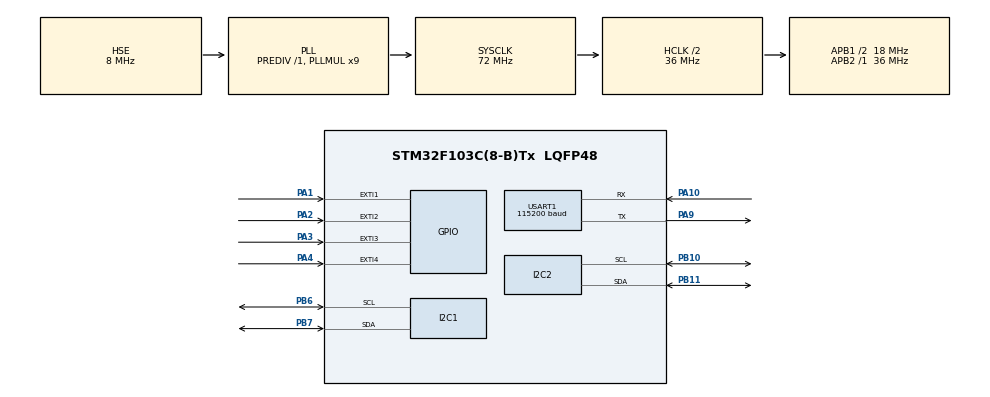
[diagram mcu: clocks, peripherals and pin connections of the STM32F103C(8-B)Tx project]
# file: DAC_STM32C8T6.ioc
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Mcu.Family=STM32F1
Mcu.Name=STM32F103C(8-B)Tx
Mcu.Package=LQFP48
NVIC.EXTI1_IRQn=true\:0\:0\:false\:false\:true\:true\:true\:true
NVIC.EXTI2_IRQn=true\:0\:0\:false\:false\:true\:true\:true\:true
NVIC.EXTI3_IRQn=true\:0\:0\:false\:false\:true\:true\:true\:true
NVIC.EXTI4_IRQn=true\:0\:0\:false\:false\:true\:true\:true\:true
NVIC.PriorityGroup=NVIC_PRIORITYGROUP_4
NVIC.USART1_IRQn=true\:0\:0\:false\:false\:true\:true\:true\:true
PA1.GPIO_ModeDefaultEXTI=GPIO_MODE_IT_FALLING
PA1.GPIO_PuPd=GPIO_PULLUP
PA1.Signal=GPXTI1
PA10.Mode=Asynchronous
PA10.Signal=USART1_RX
PA2.GPIO_ModeDefaultEXTI=GPIO_MODE_IT_FALLING
PA2.GPIO_PuPd=GPIO_PULLUP
PA2.Signal=GPXTI2
PA3.GPIO_ModeDefaultEXTI=GPIO_MODE_IT_FALLING
PA3.GPIO_PuPd=GPIO_PULLUP
PA3.Signal=GPXTI3
PA4.GPIO_ModeDefaultEXTI=GPIO_MODE_IT_FALLING
PA4.GPIO_PuPd=GPIO_PULLUP
PA4.Signal=GPXTI4
PA9.Mode=Asynchronous
PA9.Signal=USART1_TX
PB10.Mode=I2C
PB10.Signal=I2C2_SCL
PB11.Mode=I2C
PB11.Signal=I2C2_SDA
PB6.Mode=I2C
PB6.Signal=I2C1_SCL
PB7.Mode=I2C
PB7.Signal=I2C1_SDA
PC14-OSC32_IN.Mode=LSE-External-Oscillator
PC14-OSC32_IN.Signal=RCC_OSC32_IN
PC15-OSC32_OUT.Mode=LSE-External-Oscillator
PC15-OSC32_OUT.Signal=RCC_OSC32_OUT
PD0-OSC_IN.Mode=HSE-External-Oscillator
PD0-OSC_IN.Signal=RCC_OSC_IN
PD1-OSC_OUT.Mode=HSE-External-Oscillator
PD1-OSC_OUT.Signal=RCC_OSC_OUT
ProjectManager.HeapSize=0x200
ProjectManager.StackSize=0x400
ProjectManager.TargetToolchain=STM32CubeIDE
RCC.AHBCLKDivider=RCC_SYSCLK_DIV2
RCC.AHBFreq_Value=36000000
RCC.APB1CLKDivider=RCC_HCLK_DIV2
RCC.APB1Freq_Value=18000000
RCC.APB1TimFreq_Value=36000000
RCC.APB2Freq_Value=36000000
RCC.APB2TimFreq_Value=36000000
RCC.HCLKFreq_Value=36000000
RCC.PLLMUL=RCC_PLL_MUL9
RCC.PLLSourceVirtual=RCC_PLLSOURCE_HSE
RCC.SYSCLKFreq_VALUE=72000000
RCC.SYSCLKSource=RCC_SYSCLKSOURCE_PLLCLK
RCC.USBFreq_Value=72000000
USART1.BaudRate=115200
USART1.VirtualMode=VM_ASYNC
VP_SYS_VS_ND.Mode=No_Debug
board=custom

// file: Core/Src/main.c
/* USER CODE BEGIN Header */
/**
  ******************************************************************************
  * @file           : main.c
  * @brief          : Main program body
  ******************************************************************************
  * @attention
  *
  * Copyright (c) 2025 STMicroelectronics.
  * All rights reserved.
  *
  * This software is licensed under terms that can be found in the LICENSE file
  * in the root directory of this software component.
  * If no LICENSE file comes with this software, it is provided AS-IS.
  *
  ******************************************************************************
  */
/* USER CODE END Header */
#include "main.h"

/* USER CODE BEGIN Includes */
#include "stdio.h"
#include "string.h"
#include "stdarg.h"
#include "OLED.h"
#include "ES9018K2M.h"
/* USER CODE END Includes */

/* USER CODE BEGIN PD */
#define LINE_INPUT_SHOWN 1+2
#define LINE_LEVEL_SHOWN 2+2
#define LINE_FILTR_SHOWN 3+2
#define LINE_MODE_SHOWN  4+2

// 编码器引脚定义 (原按键定义现在用于编码器)
#define ENCODER_SW_PIN     GPIO_PIN_1   // 按键 (EXTI1)
#define ENCODER_CLK_PIN    GPIO_PIN_2   // A相/CLK (EXTI2) - 用于触发旋转中断
#define ENCODER_DT_PIN     GPIO_PIN_3   // B相/DT (EXTI3) - 仅作为输入读取电平

#define DEBOUNCE_TIME_MS 200     // 按钮消抖时间
#define TIMEOUT_MS       3000    // 超时时间3秒

// 添加串口命令相关定义
#define UART_RX_BUFFER_SIZE 64
#define UART_CMD_MAX_LENGTH 32

/* USER CODE END PD */

/* USER CODE BEGIN PM */
typedef enum {
    MODE_LEVEL = 0,
    MODE_INPUT,
    MODE_FILTER,
    MODE_COUNT // 用于循环计数
} ControlMode_t;
/* USER CODE END PM */

I2C_HandleTypeDef hi2c1;
I2C_HandleTypeDef hi2c2;

UART_HandleTypeDef huart1;

/* USER CODE BEGIN PV */
// 编码器状态变量
ES9018K2M_Handle dac_chip;
uint8_t atten_half_dB;
uint8_t DAC_INPUT_SEL;
uint8_t DAC_FILTR_SEL;

volatile ControlMode_t current_mode = MODE_LEVEL; // 当前控制模式，默认为音量调节
volatile uint32_t last_rotation_time = 0;         // 记录最后一次旋转操作的时间
volatile uint32_t last_switch_press_time = 0;     // 按键消抖用

// 标记 DAC 寄存器是否需要更新（用于在主循环中执行I2C，避免在中断中执行阻塞操作）
volatile uint8_t dac_update_flag = 0;

// 串口接收相关变量
uint8_t uart_rx_buffer[UART_RX_BUFFER_SIZE];
uint8_t uart_cmd_buffer[UART_CMD_MAX_LENGTH];
uint16_t uart_rx_index = 0;
uint8_t uart_cmd_ready = 0;
/* USER CODE END PV */

void SystemClock_Config(void);
static void MX_GPIO_Init(void);
static void MX_I2C1_Init(void);
static void MX_USART1_UART_Init(void);
static void MX_I2C2_Init(void);
/* USER CODE BEGIN PFP */
#ifdef __GNUC__                                    //串口重定向
#define PUTCHAR_PROTOTYPE int __io_putchar(int ch)
#else
#define PUTCHAR_PROTOTYPE int fputc(int ch, FILE *f)
#endif
PUTCHAR_PROTOTYPE
{
    HAL_UART_Transmit(&huart1 , (uint8_t *)&ch, 1, 0xFFFF);
    return ch;
}

// 串口命令处理函数声明
void UART_Command_Process(void);
void UART_Process_ReadCommand(char *cmd);
void UART_Process_WriteCommand(char *cmd);
void UART_Send_Help(void);
void UART_Send_Response(const char *format, ...);
/* USER CODE END PFP */

int main(void)
{

  /* MCU Configuration--------------------------------------------------------*/

  /* Reset of all peripherals, Initializes the Flash interface and the Systick. */
  HAL_Init();

  /* Configure the system clock */
  SystemClock_Config();

  /* Initialize all configured peripherals */
  MX_GPIO_Init();
  MX_I2C1_Init();
  MX_USART1_UART_Init();
  MX_I2C2_Init();
  /* USER CODE BEGIN 2 */
  OLED_Init();
  ES9018K2M_InitHandle(&dac_chip, &hi2c1, 0x90);
  printf("Try to reset ES9018K2M\n");
//  ES9018K2M_SoftReset(&dac_chip);

  // 启动串口接收中断
  HAL_UART_Receive_IT(&huart1, uart_rx_buffer, 1);

  atten_half_dB=0;
  if (ES9018K2M_GetAttenuation(&dac_chip, &atten_half_dB) == HAL_OK) {
      printf("Current attenuation: %d *0.5dB\n", atten_half_dB);
  }
//  ES9018K2M_SetAttenuation(&dac_chip, atten_half_dB);
  DAC_INPUT_SEL=0;
  DAC_FILTR_SEL=0;
  OLED_ShowString(LINE_INPUT_SHOWN, 1, "Input:");
  OLED_ShowString(LINE_FILTR_SHOWN, 1, "FLT:");

  // 打印帮助信息
  printf("\r\nES9018K2M Debug Console Ready!\r\n");
  printf("Available commands:\r\n");
  printf("  r [addr]          - Read register (hex)\r\n");
  printf("  w [addr] [value]  - Write register (hex)\r\n");
  printf("  level [value]     - Set attenuation (0-255)\r\n");
  printf("  input [0-2]       - Set input source\r\n");
  printf("  filter [0-2]      - Set filter type\r\n");
  printf("  status            - Show current status\r\n");
  printf("  help              - Show this help\r\n");
  printf("Example: r 01, w 01 FF, level 128\r\n");
  /* USER CODE END 2 */

  /* Infinite loop */
    /* USER CODE BEGIN WHILE */
    while (1)
    {
        uint32_t current_time = HAL_GetTick();

        // ============== 1. 模式超时检查 (非 LEVEL 模式下) ==============
        if (current_mode != MODE_LEVEL) {
            if (current_time - last_rotation_time > TIMEOUT_MS) {
                current_mode = MODE_LEVEL;
                printf("Mode Timeout, back to Level\n");
            }
        }

        // ============== 2. DAC I2C 写入 (在主循环中执行，非中断) ==============
        if (dac_update_flag) {
            printf("Applying DAC settings...\n");
            if (current_mode == MODE_LEVEL) {
                ES9018K2M_SetAttenuation(&dac_chip, atten_half_dB);
            } else if (current_mode == MODE_INPUT) {
                switch (DAC_INPUT_SEL) {
                    case 0: // USB
                        ES9018K2M_WriteReg(&dac_chip, ES9018K2M_REG_INPUT_CONFIG, 0b10001100);
                        break;
                    case 1: // SPDIF Optical
                        ES9018K2M_WriteReg(&dac_chip, ES9018K2M_REG_GPIO_CONFIG, 0b10001000);
                        ES9018K2M_WriteReg(&dac_chip, ES9018K2M_REG_INPUT_CONFIG, 0b10000001);
                        ES9018K2M_WriteReg(&dac_chip, ES9018K2M_REG_CH_MAPPING, 0b00110010);
                        break;
                    case 2: // SPDIF Coaxial
                        ES9018K2M_WriteReg(&dac_chip, ES9018K2M_REG_GPIO_CONFIG, 0b10001000);
                        ES9018K2M_WriteReg(&dac_chip, ES9018K2M_REG_INPUT_CONFIG, 0b10000001);
                        ES9018K2M_WriteReg(&dac_chip, ES9018K2M_REG_CH_MAPPING, 0b01000010);
                        break;
                }
            } else if (current_mode == MODE_FILTER) {
                switch (DAC_FILTR_SEL) {
                    case 0: // Fast RO
                        ES9018K2M_WriteReg(&dac_chip, ES9018K2M_REG_GENERAL_SETTINGS, 0b10000000);
                        break;
                    case 1: // Slow RO
                        ES9018K2M_WriteReg(&dac_chip, ES9018K2M_REG_GENERAL_SETTINGS, 0b10010000);
                        break;
                    case 2: // Min Phase
                        ES9018K2M_WriteReg(&dac_chip, ES9018K2M_REG_GENERAL_SETTINGS, 0b10100000);
                        break;
                }
            }
            dac_update_flag = 0; // 重置标志位
        }

        // ============== 3. 串口命令处理 ==============
            if (uart_cmd_ready) {
                UART_Command_Process();
                uart_cmd_ready = 0;
            }

  	  // ============== 4. OLED 屏幕刷新 ==============

  	  // Line1: Input
  	  switch (DAC_INPUT_SEL) {
  	  		  case 0:
  	  			  OLED_ShowString(LINE_INPUT_SHOWN, 8, "USB      ");
  	  			  break;
  	  		  case 1:
  	  			  OLED_ShowString(LINE_INPUT_SHOWN, 8, "SPDIF Cox");
  	  			  break;
  	  		  case 2:
  	  			  OLED_ShowString(LINE_INPUT_SHOWN, 8, "SPDIF Opt");
  	  			  break;
  	  		  default:
  	  			  OLED_ShowString(LINE_INPUT_SHOWN, 8, "Unknown");
  	  			  break;
  	  	}

  	  	  	  // Line2: Level
  	  	  	  OLED_ShowString(LINE_LEVEL_SHOWN, 1, "Level: -");
  	  	  	  OLED_ShowNum(LINE_LEVEL_SHOWN, 9, atten_half_dB/2, 3);
  	  	  	  if (atten_half_dB%2) OLED_ShowString(LINE_LEVEL_SHOWN, 12, ".5 dB");
  	  	  	  else OLED_ShowString(LINE_LEVEL_SHOWN, 12, ".0 dB");

  	  	  	  // Line3: Filter
  	  	  	  switch (DAC_FILTR_SEL) {
  	  	  		  case 0:
  	  	  			OLED_ShowString(LINE_FILTR_SHOWN, 6, "Fast RO  ");
   	  	  			break;
  	  	  		  case 1:
  	  	  			OLED_ShowString(LINE_FILTR_SHOWN, 6, "Slow RO  ");
  	  	  			break;
  	  	  		  case 2:
  	  	  			OLED_ShowString(LINE_FILTR_SHOWN, 6, "Min Phase");
  	  	  			break;
  	  	  		  default:
  	  	  			OLED_ShowString(LINE_FILTR_SHOWN, 6, "Unknown");
  	  	  			break;
  	  	  		}

            // Line4: Current Mode (新增)
            OLED_ShowString(LINE_MODE_SHOWN, 1, "Mode: ");
            switch (current_mode) {
                case MODE_LEVEL:
                    OLED_ShowString(LINE_MODE_SHOWN, 7, "**LEVEL** ");
                    break;
                case MODE_INPUT:
                    OLED_ShowString(LINE_MODE_SHOWN, 7, "**INPUT** ");
                    break;
                case MODE_FILTER:
                    OLED_ShowString(LINE_MODE_SHOWN, 7, "**FILTER** ");
                    break;
                default:
                    OLED_ShowString(LINE_MODE_SHOWN, 7, "UNKNOWN    ");
                    break;
            }

      /* USER CODE END WHILE */

    }
}

void SystemClock_Config(void)
{
  RCC_OscInitTypeDef RCC_OscInitStruct = {0};
  RCC_ClkInitTypeDef RCC_ClkInitStruct = {0};

  /** Initializes the RCC Oscillators according to the specified parameters
  * in the RCC_OscInitTypeDef structure.
  */
  RCC_OscInitStruct.OscillatorType = RCC_OSCILLATORTYPE_HSE;
  RCC_OscInitStruct.HSEState = RCC_HSE_ON;
  RCC_OscInitStruct.HSEPredivValue = RCC_HSE_PREDIV_DIV1;
  RCC_OscInitStruct.HSIState = RCC_HSI_ON;
  RCC_OscInitStruct.PLL.PLLState = RCC_PLL_ON;
  RCC_OscInitStruct.PLL.PLLSource = RCC_PLLSOURCE_HSE;
  RCC_OscInitStruct.PLL.PLLMUL = RCC_PLL_MUL9;
  if (HAL_RCC_OscConfig(&RCC_OscInitStruct) != HAL_OK)
  {
    Error_Handler();
  }

  /** Initializes the CPU, AHB and APB buses clocks
  */
  RCC_ClkInitStruct.ClockType = RCC_CLOCKTYPE_HCLK|RCC_CLOCKTYPE_SYSCLK
                              |RCC_CLOCKTYPE_PCLK1|RCC_CLOCKTYPE_PCLK2;
  RCC_ClkInitStruct.SYSCLKSource = RCC_SYSCLKSOURCE_PLLCLK;
  RCC_ClkInitStruct.AHBCLKDivider = RCC_SYSCLK_DIV2;
  RCC_ClkInitStruct.APB1CLKDivider = RCC_HCLK_DIV2;
  RCC_ClkInitStruct.APB2CLKDivider = RCC_HCLK_DIV1;

  if (HAL_RCC_ClockConfig(&RCC_ClkInitStruct, FLASH_LATENCY_2) != HAL_OK)
  {
    Error_Handler();
  }
}

static void MX_I2C1_Init(void)
{

  hi2c1.Instance = I2C1;
  hi2c1.Init.ClockSpeed = 100000;
  hi2c1.Init.DutyCycle = I2C_DUTYCYCLE_2;
  hi2c1.Init.OwnAddress1 = 0;
  hi2c1.Init.AddressingMode = I2C_ADDRESSINGMODE_7BIT;
  hi2c1.Init.DualAddressMode = I2C_DUALADDRESS_DISABLE;
  hi2c1.Init.OwnAddress2 = 0;
  hi2c1.Init.GeneralCallMode = I2C_GENERALCALL_DISABLE;
  hi2c1.Init.NoStretchMode = I2C_NOSTRETCH_DISABLE;
  if (HAL_I2C_Init(&hi2c1) != HAL_OK)
  {
    Error_Handler();
  }

}

static void MX_I2C2_Init(void)
{

  hi2c2.Instance = I2C2;
  hi2c2.Init.ClockSpeed = 100000;
  hi2c2.Init.DutyCycle = I2C_DUTYCYCLE_2;
  hi2c2.Init.OwnAddress1 = 0;
  hi2c2.Init.AddressingMode = I2C_ADDRESSINGMODE_7BIT;
  hi2c2.Init.DualAddressMode = I2C_DUALADDRESS_DISABLE;
  hi2c2.Init.OwnAddress2 = 0;
  hi2c2.Init.GeneralCallMode = I2C_GENERALCALL_DISABLE;
  hi2c2.Init.NoStretchMode = I2C_NOSTRETCH_DISABLE;
  if (HAL_I2C_Init(&hi2c2) != HAL_OK)
  {
    Error_Handler();
  }

}

static void MX_USART1_UART_Init(void)
{

  huart1.Instance = USART1;
  huart1.Init.BaudRate = 115200;
  huart1.Init.WordLength = UART_WORDLENGTH_8B;
  huart1.Init.StopBits = UART_STOPBITS_1;
  huart1.Init.Parity = UART_PARITY_NONE;
  huart1.Init.Mode = UART_MODE_TX_RX;
  huart1.Init.HwFlowCtl = UART_HWCONTROL_NONE;
  huart1.Init.OverSampling = UART_OVERSAMPLING_16;
  if (HAL_UART_Init(&huart1) != HAL_OK)
  {
    Error_Handler();
  }

}

static void MX_GPIO_Init(void)
{
  GPIO_InitTypeDef GPIO_InitStruct = {0};

  /* GPIO Ports Clock Enable */
  __HAL_RCC_GPIOC_CLK_ENABLE();
  __HAL_RCC_GPIOD_CLK_ENABLE();
  __HAL_RCC_GPIOA_CLK_ENABLE();
  __HAL_RCC_GPIOB_CLK_ENABLE();

  /*Configure GPIO pins : PA1 PA2 PA3 PA4 */
  GPIO_InitStruct.Pin = ENCODER_CLK_PIN|ENCODER_SW_PIN; // PA1(SW) 和 PA2(CLK)
  GPIO_InitStruct.Mode = GPIO_MODE_IT_FALLING;
  GPIO_InitStruct.Pull = GPIO_PULLUP;
  HAL_GPIO_Init(GPIOA, &GPIO_InitStruct);

  /*Configure Input GPIO pin: PA3 (DT) */
  GPIO_InitStruct.Pin = ENCODER_DT_PIN; // PA3(DT)
  GPIO_InitStruct.Mode = GPIO_MODE_INPUT; // 仅作为输入读取电平
  GPIO_InitStruct.Pull = GPIO_PULLUP;
  HAL_GPIO_Init(GPIOA, &GPIO_InitStruct);

  /* EXTI interrupt init*/
  // EXTI1 (PA1 - SW)
  HAL_NVIC_SetPriority(EXTI1_IRQn, 0, 0);
  HAL_NVIC_EnableIRQ(EXTI1_IRQn);

  // EXTI2 (PA2 - CLK)
  HAL_NVIC_SetPriority(EXTI2_IRQn, 0, 0);
  HAL_NVIC_EnableIRQ(EXTI2_IRQn);

}

/* USER CODE BEGIN 4 */
// 外部中断回调函数 - 只在下降沿触发
void HAL_GPIO_EXTI_Callback(uint16_t GPIO_Pin)
{
    uint32_t current_time = HAL_GetTick();

    // 1. 编码器按键 (SW) 处理 - 模式切换
    if (GPIO_Pin == ENCODER_SW_PIN)
    {
        // 关键：确认是真正的下降沿（当前为低电平）
        if (HAL_GPIO_ReadPin(GPIOA, ENCODER_SW_PIN) != GPIO_PIN_RESET) {
            return; // 忽略
        }

        // 按键消抖检查
        if (current_time - last_switch_press_time < DEBOUNCE_TIME_MS) {
            return; // 忽略抖动
        }
        last_switch_press_time = current_time;

        // 切换模式
        current_mode++;
        if (current_mode >= MODE_COUNT) {
            current_mode = MODE_LEVEL;
        }
        printf("Mode Switched to: %d\n", current_mode);

        // 每次模式切换，都重置旋转操作时间，避免立即超时
        last_rotation_time = current_time;
    }

    // 2. 编码器旋转 (CLK) 处理 - 参数调节
    // **仅处理 CLK 引脚的中断 (ENCODER_CLK_PIN)**
    else if (GPIO_Pin == ENCODER_CLK_PIN)
    {
        // 关键：仅处理下降沿（这是 EXT_FALLING 的要求）
        if (HAL_GPIO_ReadPin(GPIOA, ENCODER_CLK_PIN) != GPIO_PIN_RESET) {
            return; // 忽略
        }

        // 记录旋转时间，用于超时判断
        last_rotation_time = current_time;

        // 获取 B (DT) 的当前电平
        uint8_t PinB = HAL_GPIO_ReadPin(GPIOA, ENCODER_DT_PIN);

        int8_t direction = 0; // 1: 顺时针(CW), -1: 逆时针(CCW)

        // 方向判断逻辑 (基于 A/CLK 下降沿，保持不变)
        if (PinB == GPIO_PIN_SET) {
            // A↓, B↑ -> 逆时针 (CCW)
            direction = -1;
        } else { // PinB == GPIO_PIN_RESET
            // A↓, B↓ -> 顺时针 (CW)
            direction = 1;
        }

        if (direction != 0)
        {
            switch (current_mode)
            {
                case MODE_LEVEL: // 衰减调节 (逻辑已反转)
                    if (direction == 1) { // CW: 减少衰减 (音量增大)
                        if (atten_half_dB > 0x00) atten_half_dB--;
                    } else { // CCW: 增加衰减 (音量减小)
                        if (atten_half_dB < 0xFF) atten_half_dB++;
                    }
                    printf("Level: %d *0.5dB\n", atten_half_dB);
                    // 设置标志位，让主循环执行 I2C 写入
                    dac_update_flag = 1;
                    break;

                case MODE_INPUT: // 输入调节 (保持不变，CW=下一个, CCW=上一个)
                    if (direction == 1) { // CW: 循环下一个
                        DAC_INPUT_SEL = (DAC_INPUT_SEL + 1) % 3;
                    } else { // CCW: 循环上一个
                        DAC_INPUT_SEL = (DAC_INPUT_SEL == 0) ? 2 : (DAC_INPUT_SEL - 1);
                    }
                    printf("Input SEL: %d\n", DAC_INPUT_SEL);
                    dac_update_flag = 1;
                    break;

                case MODE_FILTER: // 滤波调节 (保持不变，CW=下一个, CCW=上一个)
                    if (direction == 1) { // CW: 循环下一个
                        DAC_FILTR_SEL = (DAC_FILTR_SEL + 1) % 3;
                    } else { // CCW: 循环上一个
                        DAC_FILTR_SEL = (DAC_FILTR_SEL == 0) ? 2 : (DAC_FILTR_SEL - 1);
                    }
                    printf("Filter SEL: %d\n", DAC_FILTR_SEL);
                    dac_update_flag = 1;
                    break;
            }
        }
    }
    // **注意: PA3 (DT) 的中断被忽略**
}

// 串口接收完成回调函数
void HAL_UART_RxCpltCallback(UART_HandleTypeDef *huart)
{
    if (huart->Instance == USART1) {
        uint8_t received_char = uart_rx_buffer[0];

        // 处理回车或换行作为命令结束符
        if (received_char == '\r' || received_char == '\n') {
            if (uart_rx_index > 0) {
                uart_cmd_buffer[uart_rx_index] = '\0'; // 添加字符串结束符
                uart_cmd_ready = 1;
                uart_rx_index = 0;
            }
        }
        // 处理退格键
        else if (received_char == '\b' || received_char == 0x7F) {
            if (uart_rx_index > 0) {
                uart_rx_index--;
                printf("\b \b"); // 回显退格
            }
        }
        // 普通字符处理
        else if (uart_rx_index < (UART_CMD_MAX_LENGTH - 1)) {
            uart_cmd_buffer[uart_rx_index++] = received_char;
            printf("%c", received_char); // 回显字符
        }

        // 重新启动接收
        HAL_UART_Receive_IT(&huart1, uart_rx_buffer, 1);
    }
}

// 在命令处理中添加新命令
void UART_Command_Process(void)
{
    char *cmd = (char *)uart_cmd_buffer;
    printf("\r\n");

    while (*cmd == ' ') cmd++;
    if (strlen(cmd) == 0) return;

    // 命令解析
    if (strncmp(cmd, "r ", 2) == 0) {
        UART_Process_ReadCommand(cmd + 2);
    }
    else if (strncmp(cmd, "w ", 2) == 0) {
        UART_Process_WriteCommand(cmd + 2);
    }
    else if (strncmp(cmd, "level ", 6) == 0) {
        UART_Process_LevelCommand(cmd + 6);
    }
    else if (strncmp(cmd, "input ", 6) == 0) {
        UART_Process_InputCommand(cmd + 6);
    }
    else if (strncmp(cmd, "filter ", 7) == 0) {
        UART_Process_FilterCommand(cmd + 7);
    }
    else if (strcmp(cmd, "bassboost") == 0) {
        UART_Process_BassBoostCommand(cmd);
    }
    else if (strcmp(cmd, "lowpass") == 0) {
        UART_Process_LowpassCommand(cmd);
    }
    else if (strcmp(cmd, "safevolume") == 0) {  // 新增安全音量命令
        UART_Process_SafeVolume();
    }
    else if (strcmp(cmd, "resetfilter") == 0) { // 新增重置滤波器命令
        UART_Process_ResetFilter();
    }
    else if (strcmp(cmd, "disablecustom") == 0) {
        UART_Process_DisableCustomFilter();
    }
    else if (strcmp(cmd, "filterstatus") == 0) {
        UART_Process_FilterStatusCommand();
    }
    else if (strcmp(cmd, "status") == 0) {
        UART_Process_StatusCommand();
    }
    else if (strcmp(cmd, "help") == 0) {
        UART_Send_Help();
    }
    else {
        UART_Send_Response("Unknown command: %s", cmd);
        UART_Send_Response("Type 'help' for available commands");
    }

    printf("> ");
}

// 读取寄存器命令
void UART_Process_ReadCommand(char *cmd)
{
    uint8_t reg_addr;
    uint8_t reg_value;

    if (sscanf(cmd, "%hhx", &reg_addr) == 1) {
        if (ES9018K2M_ReadReg(&dac_chip, reg_addr, &reg_value) == HAL_OK) {
            UART_Send_Response("Register 0x%02X = 0x%02X", reg_addr, reg_value);
        } else {
            UART_Send_Response("Error reading register 0x%02X", reg_addr);
        }
    } else {
        UART_Send_Response("Invalid read command format");
        UART_Send_Response("Usage: r [addr]");
        UART_Send_Response("Example: r 01");
    }
}

// 写入寄存器命令
void UART_Process_WriteCommand(char *cmd)
{
    unsigned int reg_addr, reg_value;  // 使用 unsigned int 而不是 uint8_t

    UART_Send_Response("Debug: Processing write command: '%s'", cmd);

    // 方法1：使用 %x 解析到 unsigned int
    int parsed_count = sscanf(cmd, "%x %x", &reg_addr, &reg_value);
    printf("Parsed %d parameters: addr=0x%X, value=0x%X\n", parsed_count, reg_addr, reg_value);

    if (parsed_count == 2) {
        // 检查值是否在有效范围内
        if (reg_addr > 0xFF || reg_value > 0xFF) {
            UART_Send_Response("Error: Address and value must be 8-bit (0x00-0xFF)");
            UART_Send_Response("Received: addr=0x%X, value=0x%X", reg_addr, reg_value);
            return;
        }

        uint8_t addr_byte = (uint8_t)reg_addr;
        uint8_t value_byte = (uint8_t)reg_value;

        UART_Send_Response("Writing 0x%02X to register 0x%02X", value_byte, addr_byte);

        // 继续执行写入操作...
        HAL_Delay(10);
        HAL_StatusTypeDef status = ES9018K2M_WriteReg(&dac_chip, addr_byte, value_byte);

        if (status == HAL_OK) {
            UART_Send_Response("Write OK: 0x%02X = 0x%02X", addr_byte, value_byte);
        } else {
            UART_Send_Response("Error writing register 0x%02X, HAL Status: %d", addr_byte, status);
        }
    } else {
        UART_Send_Response("Invalid write command format (parsed %d parameters)", parsed_count);
        UART_Send_Response("Usage: w [addr] [value]");
        UART_Send_Response("Example: w 01 81 or w 0x01 0x81");
    }
}

// 检查滤波器状态
void UART_Process_FilterStatusCommand(void)
{
    uint8_t filter_control, filter_addr;

    ES9018K2M_ReadReg(&dac_chip, 0x1E, &filter_control);
    ES9018K2M_ReadReg(&dac_chip, 0x1A, &filter_addr);

    UART_Send_Response("=== Filter Status ===");
    UART_Send_Response("Filter Control (0x1E): 0x%02X", filter_control);
    UART_Send_Response("Filter Addr (0x1A): 0x%02X", filter_addr);

    UART_Send_Response("Custom Filter: %s", (filter_control & 0x01) ? "ENABLED" : "DISABLED");
    UART_Send_Response("Coeff Write: %s", (filter_control & 0x02) ? "ENABLED" : "DISABLED");
    UART_Send_Response("Stage2 Symmetry: %s", (filter_control & 0x04) ? "COSINE(28-tap)" : "SINE(27-tap)");

    UART_Send_Response("Current Stage: %s", (filter_addr & 0x80) ? "STAGE2" : "STAGE1");
    UART_Send_Response("Current Addr: 0x%02X", filter_addr & 0x7F);
}

// 设置音量命令
void UART_Process_LevelCommand(char *cmd)
{
    uint16_t level;

    if (sscanf(cmd, "%hu", &level) == 1) {
        if (level <= 255) {
            atten_half_dB = (uint8_t)level;
            dac_update_flag = 1;
            UART_Send_Response("Attenuation set to %d (%.1f dB)",
                             atten_half_dB, atten_half_dB * 0.5f);
        } else {
            UART_Send_Response("Level must be 0-255");
        }
    } else {
        UART_Send_Response("Invalid level command format");
        UART_Send_Response("Usage: level [0-255]");
    }
}

// 设置输入命令
void UART_Process_InputCommand(char *cmd)
{
    uint8_t input;

    if (sscanf(cmd, "%hhu", &input) == 1) {
        if (input < 3) {
            DAC_INPUT_SEL = input;
            dac_update_flag = 1;
            const char *input_names[] = {"USB", "SPDIF Coaxial", "SPDIF Optical"};
            UART_Send_Response("Input set to %d (%s)", input, input_names[input]);
        } else {
            UART_Send_Response("Input must be 0-2");
        }
    } else {
        UART_Send_Response("Invalid input command format");
        UART_Send_Response("Usage: input [0-2]");
    }
}

// 设置滤波器命令
void UART_Process_FilterCommand(char *cmd)
{
    uint8_t filter;

    if (sscanf(cmd, "%hhu", &filter) == 1) {
        if (filter < 3) {
            DAC_FILTR_SEL = filter;
            dac_update_flag = 1;
            const char *filter_names[] = {"Fast RO", "Slow RO", "Min Phase"};
            UART_Send_Response("Filter set to %d (%s)", filter, filter_names[filter]);
        } else {
            UART_Send_Response("Filter must be 0-2");
        }
    } else {
        UART_Send_Response("Invalid filter command format");
        UART_Send_Response("Usage: filter [0-2]");
    }
}

// 状态查询命令
void UART_Process_StatusCommand(void)
{
    UART_Send_Response("=== ES9018K2M Status ===");
    UART_Send_Response("Attenuation: %d (%.1f dB)", atten_half_dB, atten_half_dB * 0.5f);

    const char *input_names[] = {"USB", "SPDIF Coaxial", "SPDIF Optical"};
    UART_Send_Response("Input: %d (%s)", DAC_INPUT_SEL, input_names[DAC_INPUT_SEL]);

    const char *filter_names[] = {"Fast RO", "Slow RO", "Min Phase"};
    UART_Send_Response("Filter: %d (%s)", DAC_FILTR_SEL, filter_names[DAC_FILTR_SEL]);

    const char *mode_names[] = {"LEVEL", "INPUT", "FILTER"};
    UART_Send_Response("Current Mode: %s", mode_names[current_mode]);
}

// 更新帮助信息
void UART_Send_Help(void)
{
    UART_Send_Response("Available commands:");
    UART_Send_Response("  r [addr]          - Read register (hex)");
    UART_Send_Response("  w [addr] [value]  - Write register (hex)");
    UART_Send_Response("  level [value]     - Set attenuation (0-255)");
    UART_Send_Response("  input [0-2]       - Set input source");
    UART_Send_Response("  filter [0-2]      - Set built-in filter type");
    UART_Send_Response("  bassboost         - Enable true bass boost");
    UART_Send_Response("  lowpass           - Enable simple lowpass filter");
    UART_Send_Response("  safevolume        - Set safe volume to prevent clipping");
    UART_Send_Response("  resetfilter       - Reset to default filter and safe volume");
    UART_Send_Response("  disablecustom     - Disable custom filter");
    UART_Send_Response("  filterstatus      - Show filter status");
    UART_Send_Response("  status            - Show current status");
    UART_Send_Response("  help              - Show this help");
    UART_Send_Response("Important:");
    UART_Send_Response("  - Use 'safevolume' after enabling custom filters");
    UART_Send_Response("  - Use 'resetfilter' if experiencing issues");
}

// 通用响应发送函数
void UART_Send_Response(const char *format, ...)
{
    char buffer[128];
    va_list args;

    va_start(args, format);
    vsnprintf(buffer, sizeof(buffer), format, args);
    va_end(args);

    printf("%s\r\n", buffer);
}

// 真正的低音增强滤波器系数计算
int32_t calculate_bass_boost_coeff(int index, int total_coeffs, float bass_gain)
{
    int center = total_coeffs / 2;
    int distance = abs(index - center);

    // 基础低通滤波器系数
    float cutoff = 0.2f; // 200Hz左右的低通
    float pi = 3.14159265358979323846f;
    float coeff = 0.0f;

    if (distance == 0) {
        // 中心抽头
        coeff = 2.0f * cutoff;
    } else {
        // sinc函数
        coeff = sinf(2.0f * pi * cutoff * distance) / (pi * distance);

        // 应用汉宁窗
        float window = 0.5f - 0.5f * cosf(2.0f * pi * index / (total_coeffs - 1));
        coeff *= window;
    }

    // 应用低音增强
    if (distance < total_coeffs / 4) {
        // 对低频部分进行增强
        coeff *= bass_gain;
    }

    // 缩放到合适的范围，避免爆音
    int32_t result = (int32_t)(coeff * 0x3FFFFF); // 使用较小的缩放因子

    // 限制范围
    if (result > 0x3FFFFF) result = 0x3FFFFF;
    if (result < -0x3FFFFF) result = -0x3FFFFF;

    return result;
}

// 改进的低音增强滤波器命令
void UART_Process_BassBoostCommand(char *cmd)
{
    UART_Send_Response("Enabling True Bass Boost Filter...");

    // 0. 首先读取当前状态
    uint8_t current_ctrl;
    ES9018K2M_ReadReg(&dac_chip, 0x1E, &current_ctrl);
    UART_Send_Response("Current Filter Control: 0x%02X", current_ctrl);

    // 1. 启用系数写入
    UART_Send_Response("Step 1: Enabling coefficient write mode...");
    if (ES9018K2M_WriteReg(&dac_chip, 0x1E, 0x02) != HAL_OK) {
        UART_Send_Response("ERROR: Failed to enable coefficient write!");
        return;
    }
    HAL_Delay(50);

    // 2. 编程阶段1系数 - 真正的低音增强
    UART_Send_Response("Step 2: Programming Stage 1 bass boost coefficients...");

    for (int i = 0; i < 128; i++) {
        ES9018K2M_WriteReg(&dac_chip, 0x1A, i);

        // 使用真正的低音增强系数，增益1.5倍
        int32_t coefficient = calculate_bass_boost_coeff(i, 128, 1.5f);

        ES9018K2M_WriteReg(&dac_chip, 0x1B, (coefficient >> 16) & 0xFF);
        ES9018K2M_WriteReg(&dac_chip, 0x1C, (coefficient >> 8) & 0xFF);
        ES9018K2M_WriteReg(&dac_chip, 0x1D, coefficient & 0xFF);

        if ((i % 32) == 0) {
            UART_Send_Response("  Stage 1 progress: %d/128", i);
        }
    }

    // 3. 编程阶段2系数
    UART_Send_Response("Step 3: Programming Stage 2 coefficients...");

    for (int i = 0; i < 14; i++) {
        ES9018K2M_WriteReg(&dac_chip, 0x1A, 0x80 | i);

        // 阶段2使用相同的低音增强
        int32_t coefficient = calculate_bass_boost_coeff(i, 16, 1.3f);

        ES9018K2M_WriteReg(&dac_chip, 0x1B, (coefficient >> 16) & 0xFF);
        ES9018K2M_WriteReg(&dac_chip, 0x1C, (coefficient >> 8) & 0xFF);
        ES9018K2M_WriteReg(&dac_chip, 0x1D, coefficient & 0xFF);
    }

    // 4. 启用自定义滤波器
    UART_Send_Response("Step 4: Enabling custom filter...");

    uint8_t filter_control = 0x01; // prog_coeff_en=1, 正弦对称

    if (ES9018K2M_WriteReg(&dac_chip, 0x1E, filter_control) != HAL_OK) {
        UART_Send_Response("ERROR: Failed to enable custom filter!");
        return;
    }

    HAL_Delay(50);

    // 验证最终状态
    ES9018K2M_ReadReg(&dac_chip, 0x1E, &current_ctrl);
    UART_Send_Response("Final Filter Control: 0x%02X", current_ctrl);

    UART_Send_Response("True Bass Boost Filter Enabled!");
    UART_Send_Response("Bass frequencies are now enhanced.");
}

// 简单的低通滤波器（用于对比测试）
void UART_Process_LowpassCommand(char *cmd)
{
    float cutoff = 0.25f; // 默认截止频率

    UART_Send_Response("Setting up Lowpass Filter (cutoff: %.2f)...", cutoff);

    // 启用系数写入
    ES9018K2M_WriteReg(&dac_chip, 0x1E, 0x02);
    HAL_Delay(20);

    // 编程阶段1系数 - 简单的低通
    for (int i = 0; i < 128; i++) {
        ES9018K2M_WriteReg(&dac_chip, 0x1A, i);

        int center = 64;
        int distance = abs(i - center);
        int32_t coeff = 0;

        if (distance == 0) {
            coeff = 0x200000; // 中心值较小
        } else if (distance < 10) {
            coeff = 0x100000; // 靠近中心
        } else if (distance < 30) {
            coeff = 0x080000; // 中等距离
        } else {
            coeff = 0x020000; // 远离中心
        }

        ES9018K2M_WriteReg(&dac_chip, 0x1B, (coeff >> 16) & 0xFF);
        ES9018K2M_WriteReg(&dac_chip, 0x1C, (coeff >> 8) & 0xFF);
        ES9018K2M_WriteReg(&dac_chip, 0x1D, coeff & 0xFF);
    }

    // 编程阶段2系数
    for (int i = 0; i < 14; i++) {
        ES9018K2M_WriteReg(&dac_chip, 0x1A, 0x80 | i);

        int32_t coeff = 0x100000; // 统一的较小值

        ES9018K2M_WriteReg(&dac_chip, 0x1B, (coeff >> 16) & 0xFF);
        ES9018K2M_WriteReg(&dac_chip, 0x1C, (coeff >> 8) & 0xFF);
        ES9018K2M_WriteReg(&dac_chip, 0x1D, coeff & 0xFF);
    }

    // 启用滤波器
    ES9018K2M_WriteReg(&dac_chip, 0x1E, 0x01);

    UART_Send_Response("Lowpass Filter Enabled - High frequencies attenuated");
}

// 新增：音量保护命令
void UART_Process_SafeVolume(void)
{
    UART_Send_Response("Setting safe volume levels to prevent clipping...");

    // 设置较低的衰减值以避免爆音
    atten_half_dB = 150; // -75dB，中等音量
    dac_update_flag = 1;

    UART_Send_Response("Volume set to safe level: %d (%.1f dB)", atten_half_dB, atten_half_dB * 0.5f);
    UART_Send_Response("Adjust volume gradually to find optimal level.");
}

// 简化的低通滤波器系数 (矩形窗)
int32_t calculate_simple_lowpass(int n, int N, float cutoff)
{
    int center = N / 2;
    int x = n - center;

    if (x == 0) {
        return (int32_t)(0x7FFFFF * 2.0f * cutoff);
    }

    // 简单的sinc函数
    float pi = 3.14159265358979323846f;
    float value = sin(2.0f * pi * cutoff * x) / (pi * x);

    // 直接缩放
    return (int32_t)(value * 0x7FFFFF);
}

// 低通滤波器配置函数
void setup_lowpass_filter(void)
{
    // 1. 启用系数写入模式
    ES9018K2M_WriteReg(&dac_chip, 0x1E, 0x02); // prog_coeff_we = 1
    HAL_Delay(10);

    // 2. 配置阶段1低通滤波器系数 (128个系数)
    for (int i = 0; i < 128; i++) {
        ES9018K2M_WriteReg(&dac_chip, 0x1A, i); // 设置系数地址

        // 计算低通滤波器系数
        int32_t coeff = calculate_lowpass_coeff(i, 128, 0.3); // 截止频率比0.3

        // 写入24位系数
        ES9018K2M_WriteReg(&dac_chip, 0x1B, (coeff >> 16) & 0xFF);
        ES9018K2M_WriteReg(&dac_chip, 0x1C, (coeff >> 8) & 0xFF);
        ES9018K2M_WriteReg(&dac_chip, 0x1D, coeff & 0xFF);
    }

    // 3. 配置阶段2低通滤波器系数 (16个系数)
    for (int i = 0; i < 14; i++) { // 只使用前14个系数
        ES9018K2M_WriteReg(&dac_chip, 0x1A, 0x80 | i); // 阶段2，地址i

        // 计算阶段2低通系数
        int32_t coeff = calculate_lowpass_coeff(i, 16, 0.4); // 稍高的截止频率

        // 写入24位系数
        ES9018K2M_WriteReg(&dac_chip, 0x1B, (coeff >> 16) & 0xFF);
        ES9018K2M_WriteReg(&dac_chip, 0x1C, (coeff >> 8) & 0xFF);
        ES9018K2M_WriteReg(&dac_chip, 0x1D, coeff & 0xFF);
    }

    // 4. 禁用系数写入，启用自定义滤波器
    ES9018K2M_WriteReg(&dac_chip, 0x1E, 0x01); // prog_coeff_en=1, 正弦对称
}

// 新增：重置滤波器到默认状态
void UART_Process_ResetFilter(void)
{
    UART_Send_Response("Resetting filter to default state...");

    // 禁用自定义滤波器
    ES9018K2M_WriteReg(&dac_chip, 0x1E, 0x00);

    // 设置Fast RO内置滤波器
    ES9018K2M_WriteReg(&dac_chip, ES9018K2M_REG_GENERAL_SETTINGS, 0b10000000);

    // 设置安全音量
    atten_half_dB = 120;
    ES9018K2M_SetAttenuation(&dac_chip, atten_half_dB);

    UART_Send_Response("Filter reset to default (Fast RO)");
    UART_Send_Response("Volume set to safe level");
}

// 禁用自定义滤波器，返回内置滤波器
void UART_Process_DisableCustomFilter(void)
{
    UART_Send_Response("Disabling custom filter, returning to built-in filters...");
    ES9018K2M_WriteReg(&dac_chip, 0x1E, 0x00); // 禁用自定义滤波器
    UART_Send_Response("Custom filter disabled");
}
/* USER CODE END 4 */

void Error_Handler(void)
{
  __disable_irq();
  while (1)
  {
  }
}
